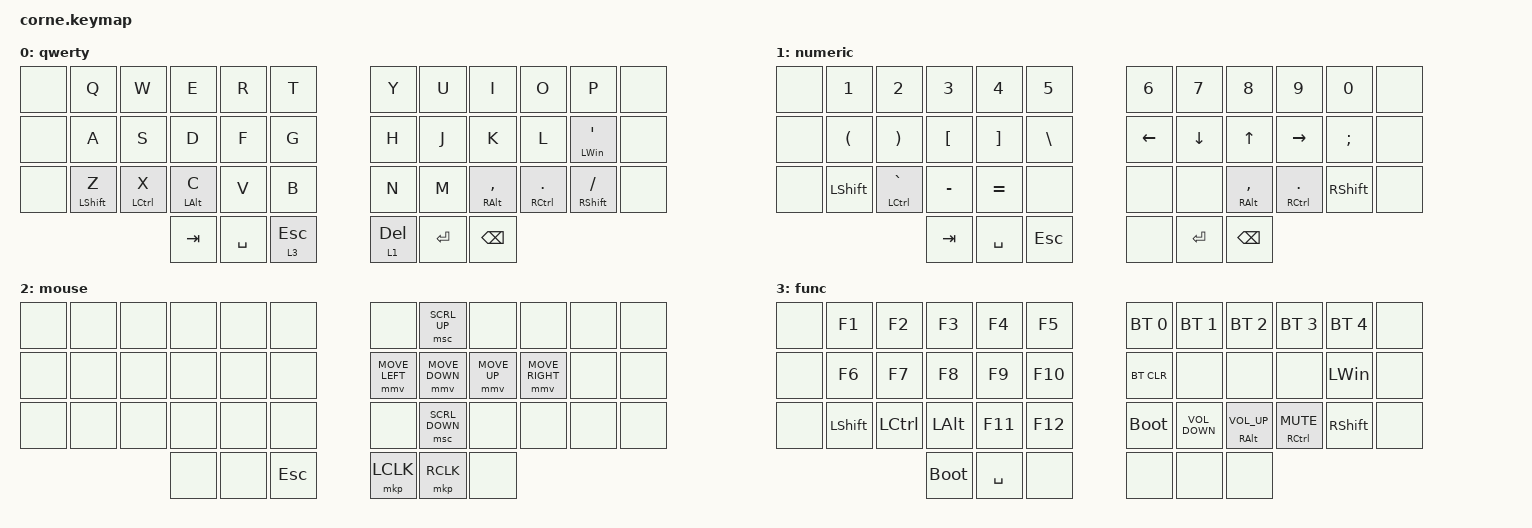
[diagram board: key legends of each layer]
/*
 * Copyright (c) 2020 The ZMK Contributors
 *
 * SPDX-License-Identifier: MIT
 */

#include <dt-bindings/zmk/mouse.h>
#include <behaviors.dtsi>
#include <dt-bindings/zmk/bt.h>
#include <dt-bindings/zmk/keys.h>
#include <dt-bindings/zmk/pointing.h>

#define DEFAULT_L 0
#define SYMBOLS_L 1
#define ARROWS_L  2
#define NUMBERS_L 3

&mt {
    tapping-term-ms = <150>;
    quick-tap-ms = <200>;
    require-prior-idle-ms = <125>;
    flavor = "tap-preferred";
};

/ {
    behaviors {
        hm: homerow_mods {
            compatible = "zmk,behavior-hold-tap";
            label = "HOMEROW_MODS";
            #binding-cells = <2>;
            tapping-term-ms = <600>;
            quick-tap-ms = <200>;
            flavor = "tap-preferred";
            bindings = <&kp>, <&kp>;
        };
    };

    combos {
        compatible = "zmk,combos";

        a {
            bindings = <&kp ESCAPE>;
            key-positions = <2 1>;
        };

        b {
            bindings = <&kp CLCK>;
            key-positions = <13 15>;
        };

        c {
            bindings = <&kp TAB>;
            key-positions = <26 25>;
        };

        d {
            bindings = <&kp BACKSPACE>;
            key-positions = <10 9>;
        };

        e {
            bindings = <&kp ENTER>;
            key-positions = <22 21>;
        };

        f {
            bindings = <&kp MINUS>;
            key-positions = <19 20>;
        };

        g {
            bindings = <&kp EQUAL>;
            key-positions = <21 20>;
        };

        h {
            bindings = <&sys_reset>;
            key-positions = <1 29>;
        };

        j {
            bindings = <&sys_reset>;
            key-positions = <30 10>;
        };

        MouseLayer {
            bindings = <&tog 2>;
            key-positions = <27 32>;
        };
    };

    keymap {
        compatible = "zmk,keymap";

        default_layer {
            label = "qwerty";
            bindings = <
&none  &kp Q             &kp W        &kp E           &kp R      &kp T           &kp Y         &kp U      &kp I                &kp O             &kp P                  &none
&none  &kp A             &kp S        &kp D           &kp F      &kp G           &kp H         &kp J      &kp K                &kp L             &mt LEFT_WIN SQT       &none
&none  &mt LEFT_SHIFT Z  &mt LCTRL X  &mt LEFT_ALT C  &kp V      &kp B           &kp N         &kp M      &mt RIGHT_ALT COMMA  &mt RCTRL PERIOD  &mt RIGHT_SHIFT SLASH  &none
                                      &kp TAB         &kp SPACE  &lt 3 ESCAPE    &lt 1 DELETE  &kp ENTER  &kp BACKSPACE
            >;
        };

        number_layer {
            label = "numeric";
            bindings = <
&none  &kp N1                &kp N2                 &kp N3            &kp N4             &kp N5           &kp N6          &kp N7          &kp N8               &kp N9            &kp N0           &none
&none  &kp LEFT_PARENTHESIS  &kp RIGHT_PARENTHESIS  &kp LEFT_BRACKET  &kp RIGHT_BRACKET  &kp BACKSLASH    &kp LEFT_ARROW  &kp DOWN_ARROW  &kp UP_ARROW         &kp RIGHT_ARROW   &kp SEMICOLON    &none
&none  &kp LEFT_SHIFT        &mt LCTRL GRAVE        &kp MINUS         &kp EQUAL          &none            &none           &none           &mt RIGHT_ALT COMMA  &mt RCTRL PERIOD  &kp RIGHT_SHIFT  &none
                                                    &kp TAB           &kp SPACE          &kp ESCAPE       &none           &kp ENTER       &kp BACKSPACE
            >;
        };

        mouse_layer {
            label = "mouse";
            bindings = <
&none  &none  &none  &none  &none  &none         &none           &msc SCRL_UP    &none         &none            &none  &none
&none  &none  &none  &none  &none  &none         &mmv MOVE_LEFT  &mmv MOVE_DOWN  &mmv MOVE_UP  &mmv MOVE_RIGHT  &none  &none
&none  &none  &none  &none  &none  &none         &none           &msc SCRL_DOWN  &none         &none            &none  &none
                     &none  &none  &kp ESCAPE    &mkp LCLK       &mkp RCLK       &none
            >;
        };

        function_bt {
            label = "func";
            bindings = <
&none  &kp F1          &kp F2     &kp F3        &kp F4     &kp F5     &bt BT_SEL 0  &bt BT_SEL 1       &bt BT_SEL 2               &bt BT_SEL 3      &bt BT_SEL 4     &none
&none  &kp F6          &kp F7     &kp F8        &kp F9     &kp F10    &bt BT_CLR    &none              &none                      &none             &kp LEFT_WIN     &none
&none  &kp LEFT_SHIFT  &kp LCTRL  &kp LEFT_ALT  &kp F11    &kp F12    &bootloader   &kp C_VOLUME_DOWN  &mt RIGHT_ALT C_VOLUME_UP  &mt RCTRL K_MUTE  &kp RIGHT_SHIFT  &none
                                  &bootloader   &kp SPACE  &none      &none         &none              &none
            >;
        };
    };
};
